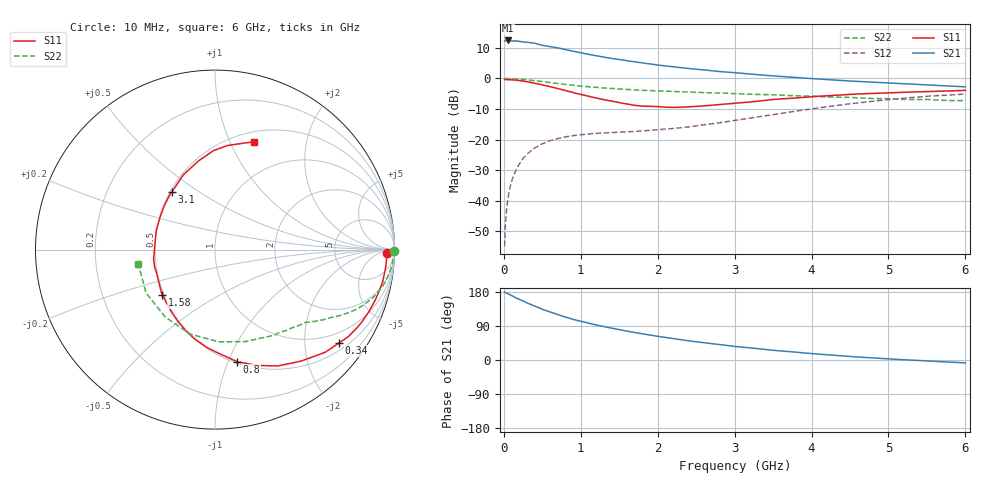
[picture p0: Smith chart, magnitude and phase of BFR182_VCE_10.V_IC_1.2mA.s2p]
! Infineon Technologies  Discrete & RF Semiconductors
! BFR182
! VCE =  10. V,  IC =  1.2 mA
! Common Emitter S-Parameters:  Nov 2015
# GHz  S  MA  R  50
!  f  S11  S21  S12  S22
! GHz  MAG  ANG  MAG  ANG  MAG  ANG  MAG  ANG
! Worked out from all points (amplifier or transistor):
!   210 points, 10 MHz to 6 GHz, reference 50 ohm
!   highest |S21| = 12.4 dB at 50 MHz (marker M1)
!   |S21| within 3 dB of that: start of sweep to 805.4 MHz
!   unconditionally stable (mu >= 1): 1.725 GHz to 3.303 GHz
!   at 185 MHz: K = 0.14, MSG = 20.5 dB, |S12| = -28.7 dB
!   at 1.52 GHz: K = 0.90, MSG = 11.9 dB, |S12| = -17.6 dB
!   at 6 GHz: K = 0.92, MSG = 1.2 dB, |S12| = -5.1 dB
!   S11 on the Smith chart (normalised r, x): 10 MHz: 40, -17; 340 MHz: 0.69, -2.84; 800 MHz: 0.51, -1.08; 1.58 GHz: 0.49, -0.29; 3.1 GHz: 0.51, +0.39; 6 GHz: 0.61, +1.23
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0.01  0.9585 -1.0  4.089 179.2  0.0018 91.7  0.9969 -0.4
0.015  0.9584 -1.5  4.112 178.5  0.0029 88.0  0.9966 -0.6
0.025  0.9577 -2.6  4.142 177.3  0.005 86.4  0.9961 -1.1
0.05  0.9563 -5.7  4.183 175.1  0.0101 86.5  0.9953 -2.3
0.09  0.9515 -10.0  4.103 171.5  0.0185 83.6  0.9913 -4.1
0.145  0.9395 -16.1  4.119 165.3  0.0291 79.4  0.9834 -6.8
0.3  0.8867 -33.2  3.923 150.6  0.0575 70.6  0.9507 -13.1
0.34  0.8647 -37.0  3.853 147.4  0.0634 67.8  0.938 -14.6
0.4  0.8391 -43.0  3.77 142.5  0.0724 64.5  0.9203 -16.9
0.54  0.7629 -56.0  3.412 131.0  0.0894 58.0  0.8762 -21.1
0.7  0.6842 -70.5  3.163 119.7  0.1039 52.2  0.8255 -25.1
0.8  0.6359 -78.9  2.972 113.2  0.1105 49.1  0.797 -27.1
0.9  0.5869 -86.3  2.789 107.2  0.1161 46.7  0.7714 -28.9
1.02  0.5413 -95.8  2.593 101.3  0.1206 44.5  0.7458 -30.6
1.2  0.4788 -110.2  2.35 92.5  0.1264 42.4  0.7146 -33.3
1.58  0.3865 -139.2  1.967 76.8  0.1332 42.1  0.6617 -37.6
2.02  0.3444 -172.2  1.646 61.9  0.145 45.9  0.6264 -42.9
2.58  0.3539 150.7  1.386 46.0  0.1729 52.4  0.5872 -51.4
3.1  0.4014 126.8  1.211 34.0  0.2153 55.5  0.5576 -61.7
4.1  0.5113 98.4  0.976 15.3  0.3307 51.9  0.5053 -91.1
5.1  0.5886 81.6  0.832 1.8  0.4625 39.0  0.4592 -130.6
6  0.6371 70.3  0.729 -7.6  0.5555 23.7  0.4347 -169.5
